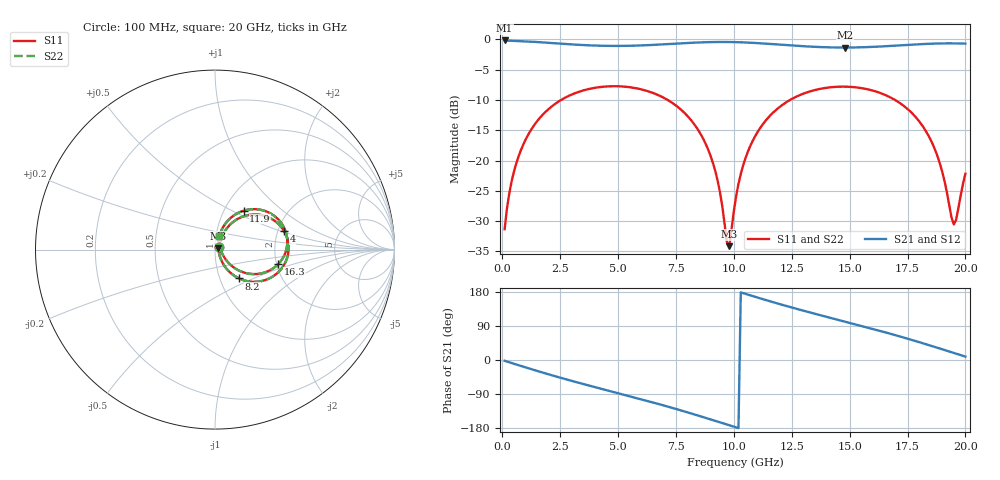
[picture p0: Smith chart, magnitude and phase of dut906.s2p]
! Touchstone file exported from HFSS 2026.1.0
!  File:  C:/ffzhzh/LocalFiles/Ansys_Project_Files/temp_train_TSV_RDL_906_1783277385_38704.aedt
!  Generated:  03:01:59 AM Jul  6, 2026
!  Design:  TSV_RDL
!  Project:  temp_train_TSV_RDL_906_1783277385_38704
! Variables:
!  h_bsmrdl = 4.65um
!  h_ox = 20um
!  h_rdl = 5um
!  h_sub = 62.52um
!  h_tmrdl = 3.36um
!  h_tsv = 62.52um
!  h_via = 3um
!  l_bsmrdl = 821.01um
!  l_sub = 6069.2um
!  l_tmrdl = 762.07um
!  m_sub = 200um
!  pitch = 46.8um
!  r_tsv = 13.82um
!  s_tmrdl = 10um
!  w_bsmrdl = 29.06um
!  w_sub = 500um
!  w_tmrdl = 23.57um
!  x_tsv_center1 = 773.855um
!  x_tsv_center2 = 1623.925um
!  x_tsv_center3 = 2409.565um
!  x_tsv_center4 = 3259.635um
!  x_tsv_center5 = 4045.275um
!  x_tsv_center6 = 4895.345um
# GHz S MA R 50.000000
! Terminal data exported
! Port[1] = TM_RDL1_1_T1
! Port[2] = TM_RDL5_1_T1
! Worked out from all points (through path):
!   200 points, 100 MHz to 20 GHz, reference 50 ohm
!   highest |S21| = -0.19 dB at 100 MHz (marker M1); lowest = -1.4 dB at 14.8 GHz (marker M2)
!   group delay of S21, straight-line fit = 48.2 ps
!   lowest |S11| = -34.1 dB at 9.8 GHz (marker M3), VSWR 1.04, Z = 51.9 + j0.699 ohm
!   |S11| at or under -10 dB: start of sweep to 2.541 GHz; 7.14 GHz to 12.43 GHz (5.288 GHz wide, 54 % of centre); 16.96 GHz to end of sweep
!   |S22| runs from -34.2 to -7.7 dB; largest |S21 - S12| = 1.7e-14
!   S11 on the Smith chart (normalised r, x): 100 MHz: 1.04, +0.03; 4 GHz: 2.16, +0.53; 8.2 GHz: 1.23, -0.42; 11.9 GHz: 1.23, +0.58; 16.3 GHz: 2.05, -0.37; 20 GHz: 1.03, +0.16
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0.1  0.02714 36.8  0.9787 -2.1  0.9787 -2.1  0.02714 36.8
! Gamma 0 0 0 0
! Port Impedance 50 0 50 0
0.5  0.08064 61.7  0.9716 -9.9  0.9716 -9.9  0.08064 61.7
1.1  0.161 59.0  0.96 -21.3  0.96 -21.3  0.161 59.0
2.1  0.2761 44.7  0.9329 -39.6  0.9329 -39.6  0.2761 44.7
3.5  0.3789 22.8  0.8965 -63.4  0.8965 -63.4  0.3789 22.7
4  0.3981 15.1  0.8882 -71.6  0.8882 -71.6  0.3981 15.0
6.8  0.3422 -28.0  0.9055 -117.0  0.9055 -117.0  0.3422 -28.0
8.2  0.2099 -50.1  0.937 -141.8  0.937 -141.8  0.2099 -50.1
9.1  0.09523 -60.1  0.9497 -158.7  0.9497 -158.7  0.09521 -60.3
9.7  0.02113 -18.6  0.9508 -170.2  0.9508 -170.2  0.02099 -18.8
9.8  0.01967 20.0  0.9503 -172.1  0.9503 -172.1  0.01952 20.1
10.1  0.05101 67.9  0.9478 -177.8  0.9478 -177.8  0.05095 68.0
10.8  0.1435 69.3  0.936 168.9  0.936 168.9  0.1435 69.4
11.9  0.2693 53.6  0.9068 148.9  0.9068 148.9  0.2693 53.6
13.4  0.3773 30.5  0.8689 123.6  0.8689 123.6  0.3773 30.5
14.8  0.407 9.7  0.8557 101.3  0.8557 101.3  0.407 9.6
16.3  0.3623 -12.7  0.8718 77.0  0.8718 77.0  0.3623 -12.7
16.7  0.3364 -18.7  0.8803 70.3  0.8803 70.3  0.3364 -18.7
18.5  0.1482 -43.3  0.9199 37.9  0.9199 37.9  0.1482 -43.4
19  0.08078 -42.5  0.9254 28.3  0.9254 28.3  0.08082 -42.6
19.5  0.02973 13.4  0.9262 18.6  0.9262 18.6  0.02978 13.3
20  0.0779 74.9  0.922 9.0  0.922 9.0  0.0779 74.8
